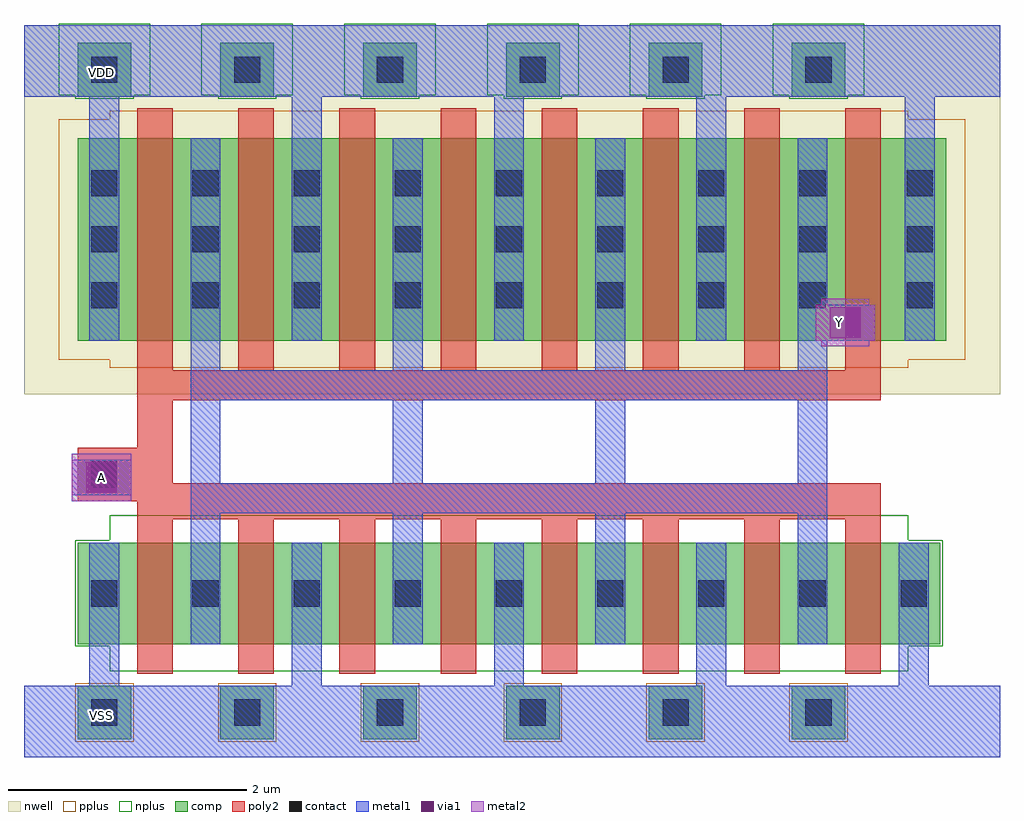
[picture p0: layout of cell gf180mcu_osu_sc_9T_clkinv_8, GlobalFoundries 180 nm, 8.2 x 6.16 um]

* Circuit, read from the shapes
.subckt gf180mcu_osu_sc_9T_clkinv_8 A VDD VSS Y
XM1 Y A VSS VSS nfet_03v3 w=0.85u l=0.3u m=8
XM2 Y A VDD VDD pfet_03v3 w=1.7u l=0.3u m=8
.ends

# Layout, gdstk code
import gdstk
lib = gdstk.Library(unit=1e-6, precision=1e-09)
def R(c, l, rs):  # rectangles x0, y0, x1, y1
    for r in rs: c.add(gdstk.rectangle(r[:2], r[2:], *l))
def A(c, l, x, y, w, h, nx, ny, dx, dy):  # array of equal rectangles
    R(c, l, [(x+i*dx, y+j*dy, x+i*dx+w, y+j*dy+h) for i in range(nx) for j in range(ny)])
nwell = (21, 0)
comp = (22, 0)
poly2 = (30, 0)
pplus = (31, 0)
nplus = (32, 0)
contact = (33, 0)
metal1 = (34, 0)
via1 = (35, 0)
metal2 = (36, 0)

gf180mcu_osu_sc_9t_clkin = lib.new_cell('gf180mcu_osu_sc_9T_clkinv_8')
R(gf180mcu_osu_sc_9t_clkin, nwell, [(0,3.05,8.2,6.15)])
A(gf180mcu_osu_sc_9t_clkin, comp, 0.45, 0.15, 0.45, 0.45, 6, 2, 1.2, 5.4)
R(gf180mcu_osu_sc_9t_clkin, comp, [(0.45,0.95,7.7,1.8), (0.45,3.5,7.75,5.2)])
A(gf180mcu_osu_sc_9t_clkin, poly2, 0.95, 0.7, 0.3, 1.3, 8, 1, 0.85, 0)
A(gf180mcu_osu_sc_9t_clkin, poly2, 0.95, 3.25, 0.3, 2.2, 8, 1, 0.85, 0)
R(gf180mcu_osu_sc_9t_clkin, poly2, [(0.95,2,7.2,2.15), (0.45,2.15,7.2,2.3), (0.45,2.3,1.25,2.6), (0.95,2.6,1.25,3), (0.95,3,7.2,3.25)])
A(gf180mcu_osu_sc_9t_clkin, pplus, 0.43, 0.13, 0.49, 0.49, 6, 1, 1.2, 0)
R(gf180mcu_osu_sc_9t_clkin, pplus, [(0.72,3.27,7.43,3.34), (0.29,3.34,7.91,5.36), (0.72,5.36,7.43,5.43)])
A(gf180mcu_osu_sc_9t_clkin, nplus, 0.43, 5.53, 0.49, 0.03, 6, 1, 1.2, 0)
A(gf180mcu_osu_sc_9t_clkin, nplus, 0.29, 5.56, 0.77, 0.6, 6, 1, 1.2, 0)
R(gf180mcu_osu_sc_9t_clkin, nplus, [(0.72,0.72,7.43,0.93), (0.43,0.93,7.72,1.82), (0.72,1.82,7.43,2.03)])
A(gf180mcu_osu_sc_9t_clkin, contact, 0.565, 0.265, 0.22, 0.22, 6, 2, 1.2, 5.4)
A(gf180mcu_osu_sc_9t_clkin, contact, 0.565, 1.265, 0.22, 0.22, 9, 1, 0.85, 0)
A(gf180mcu_osu_sc_9t_clkin, contact, 0.565, 3.77, 0.22, 0.22, 8, 3, 0.85, 0.47)
A(gf180mcu_osu_sc_9t_clkin, contact, 7.415, 3.77, 0.22, 0.22, 1, 3, 0, 0.47)
R(gf180mcu_osu_sc_9t_clkin, contact, [(0.565,2.265,0.785,2.485)])
A(gf180mcu_osu_sc_9t_clkin, metal1, 0.55, 0.6, 0.25, 1.2, 5, 1, 1.7, 0)
A(gf180mcu_osu_sc_9t_clkin, metal1, 1.4, 0.95, 0.25, 1.1, 4, 1, 1.7, 0)
A(gf180mcu_osu_sc_9t_clkin, metal1, 1.4, 2.3, 0.25, 0.7, 4, 1, 1.7, 0)
A(gf180mcu_osu_sc_9t_clkin, metal1, 1.4, 3.25, 0.25, 1.95, 3, 1, 1.7, 0)
A(gf180mcu_osu_sc_9t_clkin, metal1, 0.55, 3.5, 0.25, 2.05, 4, 1, 1.7, 0)
R(gf180mcu_osu_sc_9t_clkin, metal1, [(0,0,8.2,0.6), (1.4,2.05,6.75,2.3), (0.4,2.2,0.9,2.5), (1.4,3,6.75,3.25), (6.5,3.25,6.75,3.5), (6.5,3.5,7.15,3.8), (7.4,3.5,7.65,5.55), (6.5,3.8,6.75,5.2), (0,5.55,8.2,6.15)])
R(gf180mcu_osu_sc_9t_clkin, via1, [(0.52,2.22,0.78,2.48), (6.77,3.52,7.03,3.78)])
R(gf180mcu_osu_sc_9t_clkin, metal2, [(0.4,2.15,0.9,2.55), (6.7,3.45,7.1,3.5), (6.65,3.5,7.15,3.8), (6.7,3.8,7.1,3.85)])
gf180mcu_osu_sc_9t_clkin.add(gdstk.Label('VDD', (0.65,5.75), layer=34, texttype=0))
gf180mcu_osu_sc_9t_clkin.add(gdstk.Label('VSS', (0.65,0.35), layer=34, texttype=0))
gf180mcu_osu_sc_9t_clkin.add(gdstk.Label('A', (0.65,2.35), layer=36, texttype=10))
gf180mcu_osu_sc_9t_clkin.add(gdstk.Label('Y', (6.85,3.65), layer=36, texttype=10))

lib.write_gds('gf180mcu_osu_sc_9T_clkinv_8.gds')
